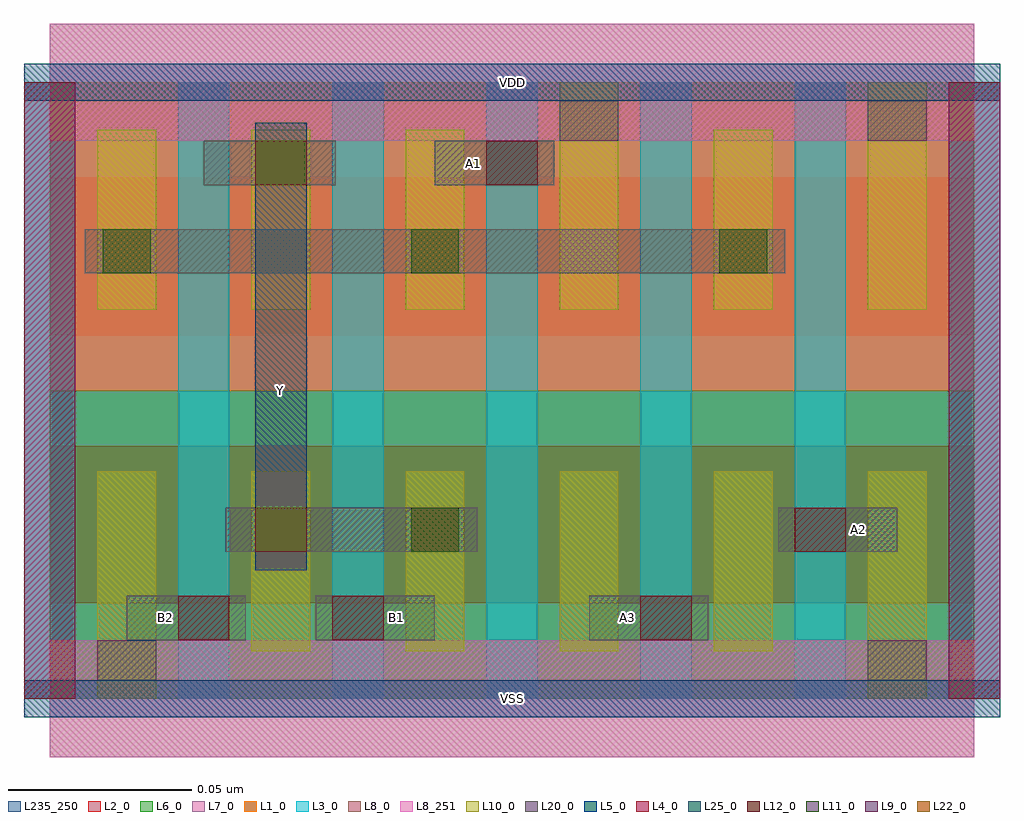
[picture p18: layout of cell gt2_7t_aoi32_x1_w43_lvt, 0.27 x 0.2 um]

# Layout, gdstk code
import gdstk
lib = gdstk.Library(unit=1e-6, precision=5e-10)
def R(c, l, rs):  # rectangles x0, y0, x1, y1
    for r in rs: c.add(gdstk.rectangle(r[:2], r[2:], *l))
def A(c, l, x, y, w, h, nx, ny, dx, dy):  # array of equal rectangles
    R(c, l, [(x+i*dx, y+j*dy, x+i*dx+w, y+j*dy+h) for i in range(nx) for j in range(ny)])
L1_0 = (1, 0)
L2_0 = (2, 0)
L3_0 = (3, 0)
L4_0 = (4, 0)
L5_0 = (5, 0)
L6_0 = (6, 0)
L7_0 = (7, 0)
L8_0 = (8, 0)
L8_251 = (8, 251)
L9_0 = (9, 0)
L10_0 = (10, 0)
L11_0 = (11, 0)
L12_0 = (12, 0)
L20_0 = (20, 0)
L22_0 = (22, 0)
L25_0 = (25, 0)
L235_250 = (235, 250)

gt2_7t_aoi32_x1_w43_lvt = lib.new_cell('gt2_7t_aoi32_x1_w43_lvt')
R(gt2_7t_aoi32_x1_w43_lvt, L1_0, [(0,0.084,0.252,0.168)])
R(gt2_7t_aoi32_x1_w43_lvt, L2_0, [(0,0.026,0.252,0.069), (0,0.099,0.252,0.142)])
A(gt2_7t_aoi32_x1_w43_lvt, L3_0, -0.007, 0, 0.014, 0.168, 7, 1, 0.042, 0)
R(gt2_7t_aoi32_x1_w43_lvt, L4_0, [(-0.007,0,0.007,0.168), (0.245,0,0.259,0.168)])
R(gt2_7t_aoi32_x1_w43_lvt, L5_0, [(-0.007,-0.005,0.259,0.005), (-0.007,0.163,0.259,0.173)])
R(gt2_7t_aoi32_x1_w43_lvt, L6_0, [(0,0,0.252,0.084)])
R(gt2_7t_aoi32_x1_w43_lvt, L7_0, [(0,0.084,0.252,0.168)])
R(gt2_7t_aoi32_x1_w43_lvt, L8_0, [(0,-0.016,0.252,0.016), (0,0.152,0.252,0.184)])
R(gt2_7t_aoi32_x1_w43_lvt, L8_251, [(0,-0.016,0.252,0.016), (0,0.152,0.252,0.184)])
R(gt2_7t_aoi32_x1_w43_lvt, L9_0, [(0.013,0.005,0.029,0.016), (0.223,0.005,0.239,0.016), (0.139,0.152,0.155,0.163), (0.223,0.152,0.239,0.163)])
A(gt2_7t_aoi32_x1_w43_lvt, L10_0, 0.055, 0.013, 0.016, 0.049, 4, 1, 0.042, 0)
A(gt2_7t_aoi32_x1_w43_lvt, L10_0, 0.013, 0.106, 0.016, 0.049, 3, 1, 0.042, 0)
R(gt2_7t_aoi32_x1_w43_lvt, L10_0, [(0.013,0,0.029,0.062), (0.223,0,0.239,0.062), (0.139,0.106,0.155,0.168), (0.181,0.106,0.197,0.155), (0.223,0.106,0.239,0.168)])
A(gt2_7t_aoi32_x1_w43_lvt, L11_0, 0.0145, 0.116, 0.013, 0.012, 3, 1, 0.084, 0)
R(gt2_7t_aoi32_x1_w43_lvt, L11_0, [(0.0985,0.04,0.1115,0.052), (0.0565,0.14,0.0695,0.152)])
R(gt2_7t_aoi32_x1_w43_lvt, L12_0, [(0.035,0.016,0.049,0.028), (0.077,0.016,0.091,0.028), (0.161,0.016,0.175,0.028), (0.203,0.04,0.217,0.052), (0.119,0.14,0.133,0.152)])
R(gt2_7t_aoi32_x1_w43_lvt, L20_0, [(0.021,0.016,0.0535,0.028), (0.0725,0.016,0.105,0.028), (0.147,0.016,0.1795,0.028), (0.048,0.04,0.1165,0.052), (0.1985,0.04,0.231,0.052), (0.0095,0.116,0.2005,0.128), (0.042,0.14,0.078,0.152), (0.105,0.14,0.1375,0.152)])
R(gt2_7t_aoi32_x1_w43_lvt, L22_0, [(0.056,0.04,0.07,0.052), (0.056,0.14,0.07,0.152)])
R(gt2_7t_aoi32_x1_w43_lvt, L25_0, [(0.056,0.035,0.07,0.157)])
R(gt2_7t_aoi32_x1_w43_lvt, L235_250, [(0,0,0.252,0.168)])
gt2_7t_aoi32_x1_w43_lvt.add(gdstk.Label('VSS', (0.126,0), layer=8, texttype=251))
gt2_7t_aoi32_x1_w43_lvt.add(gdstk.Label('VDD', (0.126,0.168), layer=8, texttype=251))
gt2_7t_aoi32_x1_w43_lvt.add(gdstk.Label('A2', (0.2205,0.046), layer=20, texttype=251))
gt2_7t_aoi32_x1_w43_lvt.add(gdstk.Label('B2', (0.0315,0.022), layer=20, texttype=251))
gt2_7t_aoi32_x1_w43_lvt.add(gdstk.Label('B1', (0.0945,0.022), layer=20, texttype=251))
gt2_7t_aoi32_x1_w43_lvt.add(gdstk.Label('A1', (0.1155,0.146), layer=20, texttype=251))
gt2_7t_aoi32_x1_w43_lvt.add(gdstk.Label('A3', (0.1575,0.022), layer=20, texttype=251))
gt2_7t_aoi32_x1_w43_lvt.add(gdstk.Label('Y', (0.063,0.084), layer=25, texttype=251))

lib.write_gds('gt2_7t_aoi32_x1_w43_lvt.gds')
